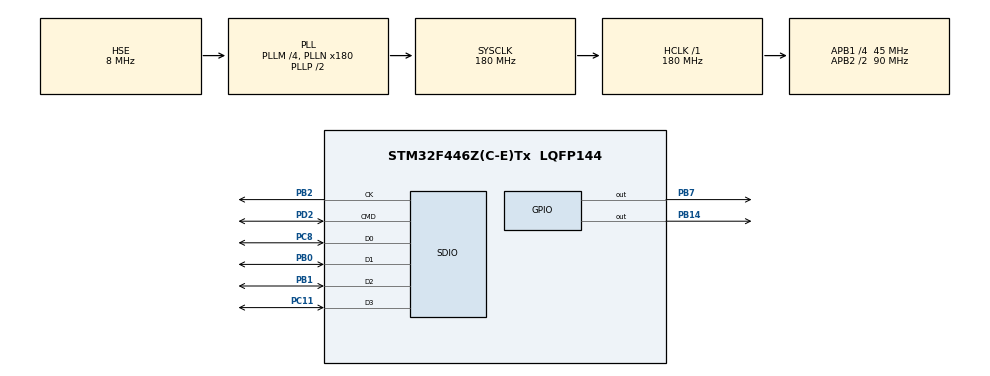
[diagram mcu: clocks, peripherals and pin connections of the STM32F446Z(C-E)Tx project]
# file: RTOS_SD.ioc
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Dma.Request0=SDIO_RX
Dma.Request1=SDIO_TX
Dma.SDIO_RX.0.Direction=DMA_PERIPH_TO_MEMORY
Dma.SDIO_RX.0.FIFOMode=DMA_FIFOMODE_ENABLE
Dma.SDIO_RX.0.FIFOThreshold=DMA_FIFO_THRESHOLD_FULL
Dma.SDIO_RX.0.Instance=DMA2_Stream3
Dma.SDIO_RX.0.MemBurst=DMA_MBURST_INC4
Dma.SDIO_RX.0.MemDataAlignment=DMA_MDATAALIGN_WORD
Dma.SDIO_RX.0.MemInc=DMA_MINC_ENABLE
Dma.SDIO_RX.0.Mode=DMA_PFCTRL
Dma.SDIO_RX.0.PeriphBurst=DMA_PBURST_INC4
Dma.SDIO_RX.0.PeriphDataAlignment=DMA_PDATAALIGN_WORD
Dma.SDIO_RX.0.PeriphInc=DMA_PINC_DISABLE
Dma.SDIO_RX.0.Priority=DMA_PRIORITY_LOW
Dma.SDIO_TX.1.Direction=DMA_MEMORY_TO_PERIPH
Dma.SDIO_TX.1.FIFOMode=DMA_FIFOMODE_ENABLE
Dma.SDIO_TX.1.FIFOThreshold=DMA_FIFO_THRESHOLD_FULL
Dma.SDIO_TX.1.Instance=DMA2_Stream6
Dma.SDIO_TX.1.MemBurst=DMA_MBURST_INC4
Dma.SDIO_TX.1.MemDataAlignment=DMA_MDATAALIGN_WORD
Dma.SDIO_TX.1.MemInc=DMA_MINC_ENABLE
Dma.SDIO_TX.1.Mode=DMA_PFCTRL
Dma.SDIO_TX.1.PeriphBurst=DMA_PBURST_INC4
Dma.SDIO_TX.1.PeriphDataAlignment=DMA_PDATAALIGN_WORD
Dma.SDIO_TX.1.PeriphInc=DMA_PINC_DISABLE
Dma.SDIO_TX.1.Priority=DMA_PRIORITY_LOW
FATFS._MAX_SS=4096
FATFS._USE_FIND=1
FATFS._USE_LABEL=1
FATFS._USE_LFN=3
FREERTOS.Tasks01=defaultTask,0,128,StartDefaultTask,Default,NULL
Mcu.Family=STM32F4
Mcu.Name=STM32F446Z(C-E)Tx
Mcu.Package=LQFP144
NVIC.DMA2_Stream3_IRQn=true\:5\:0\:false\:false\:true\:true\:false
NVIC.DMA2_Stream6_IRQn=true\:5\:0\:false\:false\:true\:true\:false
NVIC.PriorityGroup=NVIC_PRIORITYGROUP_4
NVIC.SDIO_IRQn=true\:5\:0\:false\:false\:true\:true\:true
PB0.GPIO_PuPd=GPIO_PULLUP
PB0.Mode=SD_4_bits_Wide_bus
PB0.Signal=SDIO_D1
PB1.GPIO_PuPd=GPIO_PULLUP
PB1.Mode=SD_4_bits_Wide_bus
PB1.Signal=SDIO_D2
PB14.Signal=GPIO_Output
PB2.GPIO_PuPd=GPIO_NOPULL
PB2.Mode=SD_4_bits_Wide_bus
PB2.Signal=SDIO_CK
PB7.Signal=GPIO_Output
PC11.GPIO_PuPd=GPIO_PULLUP
PC11.Mode=SD_4_bits_Wide_bus
PC11.Signal=SDIO_D3
PC8.GPIO_PuPd=GPIO_PULLUP
PC8.Mode=SD_4_bits_Wide_bus
PC8.Signal=SDIO_D0
PD2.GPIO_PuPd=GPIO_PULLUP
PD2.Mode=SD_4_bits_Wide_bus
PD2.Signal=SDIO_CMD
PH0-OSC_IN.Mode=HSE-External-Oscillator
PH0-OSC_IN.Signal=RCC_OSC_IN
PH1-OSC_OUT.Mode=HSE-External-Oscillator
PH1-OSC_OUT.Signal=RCC_OSC_OUT
ProjectManager.HeapSize=0x2000
ProjectManager.StackSize=0x4000
ProjectManager.TargetToolchain=MDK-ARM V5
RCC.AHBFreq_Value=180000000
RCC.APB1CLKDivider=RCC_HCLK_DIV4
RCC.APB1Freq_Value=45000000
RCC.APB1TimFreq_Value=90000000
RCC.APB2CLKDivider=RCC_HCLK_DIV2
RCC.APB2Freq_Value=90000000
RCC.APB2TimFreq_Value=180000000
RCC.CortexFreq_Value=180000000
RCC.HCLKFreq_Value=180000000
RCC.HSE_VALUE=8000000
RCC.PLLM=4
RCC.PLLN=180
RCC.PLLQ=8
RCC.PLLSourceVirtual=RCC_PLLSOURCE_HSE
RCC.SYSCLKFreq_VALUE=180000000
RCC.SYSCLKSource=RCC_SYSCLKSOURCE_PLLCLK
RCC.USBFreq_Value=45000000
RCC.VCOOutputFreq_Value=360000000
SDIO.ClockDiv=2
VP_FATFS_VS_SDIO.Mode=SDIO
VP_FREERTOS_VS_ENABLE.Mode=Enabled
board=custom

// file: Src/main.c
/**
  ******************************************************************************
  * @file           : main.c
  * @brief          : Main program body
  ******************************************************************************
  * This notice applies to any and all portions of this file
  * that are not between comment pairs USER CODE BEGIN and
  * USER CODE END. Other portions of this file, whether
  * inserted by the user or by software development tools
  * are owned by their respective copyright owners.
  *
  * Copyright (c) 2018 STMicroelectronics International N.V.
  * All rights reserved.
  *
  * Redistribution and use in source and binary forms, with or without
  * modification, are permitted, provided that the following conditions are met:
  *
  * 1. Redistribution of source code must retain the above copyright notice,
  *    this list of conditions and the following disclaimer.
  * 2. Redistributions in binary form must reproduce the above copyright notice,
  *    this list of conditions and the following disclaimer in the documentation
  *    and/or other materials provided with the distribution.
  * 3. Neither the name of STMicroelectronics nor the names of other
  *    contributors to this software may be used to endorse or promote products
  *    derived from this software without specific written permission.
  * 4. This software, including modifications and/or derivative works of this
  *    software, must execute solely and exclusively on microcontroller or
  *    microprocessor devices manufactured by or for STMicroelectronics.
  * 5. Redistribution and use of this software other than as permitted under
  *    this license is void and will automatically terminate your rights under
  *    this license.
  *
  * THIS SOFTWARE IS PROVIDED BY STMICROELECTRONICS AND CONTRIBUTORS "AS IS"
  * AND ANY EXPRESS, IMPLIED OR STATUTORY WARRANTIES, INCLUDING, BUT NOT
  * LIMITED TO, THE IMPLIED WARRANTIES OF MERCHANTABILITY, FITNESS FOR A
  * PARTICULAR PURPOSE AND NON-INFRINGEMENT OF THIRD PARTY INTELLECTUAL PROPERTY
  * RIGHTS ARE DISCLAIMED TO THE FULLEST EXTENT PERMITTED BY LAW. IN NO EVENT
  * SHALL STMICROELECTRONICS OR CONTRIBUTORS BE LIABLE FOR ANY DIRECT, INDIRECT,
  * INCIDENTAL, SPECIAL, EXEMPLARY, OR CONSEQUENTIAL DAMAGES (INCLUDING, BUT NOT
  * LIMITED TO, PROCUREMENT OF SUBSTITUTE GOODS OR SERVICES; LOSS OF USE, DATA,
  * OR PROFITS; OR BUSINESS INTERRUPTION) HOWEVER CAUSED AND ON ANY THEORY OF
  * LIABILITY, WHETHER IN CONTRACT, STRICT LIABILITY, OR TORT (INCLUDING
  * NEGLIGENCE OR OTHERWISE) ARISING IN ANY WAY OUT OF THE USE OF THIS SOFTWARE,
  * EVEN IF ADVISED OF THE POSSIBILITY OF SUCH DAMAGE.
  *
  ******************************************************************************
  */
#include "main.h"
#include "stm32f4xx_hal.h"
#include "cmsis_os.h"
#include "fatfs.h"

SD_HandleTypeDef hsd;
DMA_HandleTypeDef hdma_sdio_rx;
DMA_HandleTypeDef hdma_sdio_tx;

osThreadId defaultTaskHandle;

/* USER CODE BEGIN PV */
/* Private variables ---------------------------------------------------------*/
#define size 4096
/* USER CODE END PV */

void SystemClock_Config(void);
static void MX_GPIO_Init(void);
static void MX_DMA_Init(void);
static void MX_SDIO_SD_Init(void);
void StartDefaultTask(void const * argument);

/* USER CODE BEGIN PFP */
/* Private function prototypes -----------------------------------------------*/
void startCounterTask(void const * arg);
void customDelay(void);
/* USER CODE END PFP */

/* USER CODE BEGIN 0 */
uint8_t flag =0;
uint8_t flag2 =0;
int x=0;
FRESULT res;
UINT byteswritten;
FIL MyFile;     /* File object */
FATFS myFatFs;  /* File system object for SD card logical drive */
char a[size];
osThreadId counterTaskHandle;
/* USER CODE END 0 */

int main(void)
{

  /* MCU Configuration----------------------------------------------------------*/

  /* Reset of all peripherals, Initializes the Flash interface and the Systick. */
  HAL_Init();

  /* Configure the system clock */
  SystemClock_Config();

  /* Initialize all configured peripherals */
  MX_GPIO_Init();
  MX_DMA_Init();
  MX_SDIO_SD_Init();

  /* Create the thread(s) */
  /* definition and creation of defaultTask */
  osThreadDef(defaultTask, StartDefaultTask, osPriorityNormal, 0, 128);
  defaultTaskHandle = osThreadCreate(osThread(defaultTask), NULL);

  /* USER CODE BEGIN RTOS_THREADS */
  /* add threads, ... */
	osThreadDef(counterTask,startCounterTask,osPriorityNormal,1,128);
	counterTaskHandle = osThreadCreate(osThread(counterTask),NULL);
  /* USER CODE END RTOS_THREADS */

  /* Start scheduler */
  osKernelStart();

  /* We should never get here as control is now taken by the scheduler */

  /* Infinite loop */
  while (1)
  {

  }

}

void SystemClock_Config(void)
{

  RCC_OscInitTypeDef RCC_OscInitStruct;
  RCC_ClkInitTypeDef RCC_ClkInitStruct;
  RCC_PeriphCLKInitTypeDef PeriphClkInitStruct;

    /**Configure the main internal regulator output voltage
    */
  __HAL_RCC_PWR_CLK_ENABLE();

  __HAL_PWR_VOLTAGESCALING_CONFIG(PWR_REGULATOR_VOLTAGE_SCALE1);

    /**Initializes the CPU, AHB and APB busses clocks
    */
  RCC_OscInitStruct.OscillatorType = RCC_OSCILLATORTYPE_HSE;
  RCC_OscInitStruct.HSEState = RCC_HSE_ON;
  RCC_OscInitStruct.PLL.PLLState = RCC_PLL_ON;
  RCC_OscInitStruct.PLL.PLLSource = RCC_PLLSOURCE_HSE;
  RCC_OscInitStruct.PLL.PLLM = 4;
  RCC_OscInitStruct.PLL.PLLN = 180;
  RCC_OscInitStruct.PLL.PLLP = RCC_PLLP_DIV2;
  RCC_OscInitStruct.PLL.PLLQ = 8;
  RCC_OscInitStruct.PLL.PLLR = 2;
  if (HAL_RCC_OscConfig(&RCC_OscInitStruct) != HAL_OK)
  {
    _Error_Handler(__FILE__, __LINE__);
  }

    /**Activate the Over-Drive mode
    */
  if (HAL_PWREx_EnableOverDrive() != HAL_OK)
  {
    _Error_Handler(__FILE__, __LINE__);
  }

    /**Initializes the CPU, AHB and APB busses clocks
    */
  RCC_ClkInitStruct.ClockType = RCC_CLOCKTYPE_HCLK|RCC_CLOCKTYPE_SYSCLK
                              |RCC_CLOCKTYPE_PCLK1|RCC_CLOCKTYPE_PCLK2;
  RCC_ClkInitStruct.SYSCLKSource = RCC_SYSCLKSOURCE_PLLCLK;
  RCC_ClkInitStruct.AHBCLKDivider = RCC_SYSCLK_DIV1;
  RCC_ClkInitStruct.APB1CLKDivider = RCC_HCLK_DIV4;
  RCC_ClkInitStruct.APB2CLKDivider = RCC_HCLK_DIV2;

  if (HAL_RCC_ClockConfig(&RCC_ClkInitStruct, FLASH_LATENCY_5) != HAL_OK)
  {
    _Error_Handler(__FILE__, __LINE__);
  }

  PeriphClkInitStruct.PeriphClockSelection = RCC_PERIPHCLK_SDIO|RCC_PERIPHCLK_CLK48;
  PeriphClkInitStruct.Clk48ClockSelection = RCC_CLK48CLKSOURCE_PLLQ;
  PeriphClkInitStruct.SdioClockSelection = RCC_SDIOCLKSOURCE_CLK48;
  if (HAL_RCCEx_PeriphCLKConfig(&PeriphClkInitStruct) != HAL_OK)
  {
    _Error_Handler(__FILE__, __LINE__);
  }

    /**Configure the Systick interrupt time
    */
  HAL_SYSTICK_Config(HAL_RCC_GetHCLKFreq()/1000);

    /**Configure the Systick
    */
  HAL_SYSTICK_CLKSourceConfig(SYSTICK_CLKSOURCE_HCLK);

  /* SysTick_IRQn interrupt configuration */
  HAL_NVIC_SetPriority(SysTick_IRQn, 15, 0);
}

/* SDIO init function */
static void MX_SDIO_SD_Init(void)
{

  hsd.Instance = SDIO;
  hsd.Init.ClockEdge = SDIO_CLOCK_EDGE_RISING;
  hsd.Init.ClockBypass = SDIO_CLOCK_BYPASS_DISABLE;
  hsd.Init.ClockPowerSave = SDIO_CLOCK_POWER_SAVE_DISABLE;
  hsd.Init.BusWide = SDIO_BUS_WIDE_1B;
  hsd.Init.HardwareFlowControl = SDIO_HARDWARE_FLOW_CONTROL_DISABLE;
  hsd.Init.ClockDiv = 2;

}

static void MX_DMA_Init(void)
{
  /* DMA controller clock enable */
  __HAL_RCC_DMA2_CLK_ENABLE();

  /* DMA interrupt init */
  /* DMA2_Stream3_IRQn interrupt configuration */
  HAL_NVIC_SetPriority(DMA2_Stream3_IRQn, 5, 0);
  HAL_NVIC_EnableIRQ(DMA2_Stream3_IRQn);
  /* DMA2_Stream6_IRQn interrupt configuration */
  HAL_NVIC_SetPriority(DMA2_Stream6_IRQn, 5, 0);
  HAL_NVIC_EnableIRQ(DMA2_Stream6_IRQn);

}

/** Configure pins as
        * Analog
        * Input
        * Output
        * EVENT_OUT
        * EXTI
*/
static void MX_GPIO_Init(void)
{

  GPIO_InitTypeDef GPIO_InitStruct;

  /* GPIO Ports Clock Enable */
  __HAL_RCC_GPIOH_CLK_ENABLE();
  __HAL_RCC_GPIOB_CLK_ENABLE();
  __HAL_RCC_GPIOC_CLK_ENABLE();
  __HAL_RCC_GPIOD_CLK_ENABLE();

  /*Configure GPIO pin Output Level */
  HAL_GPIO_WritePin(GPIOB, GPIO_PIN_14|GPIO_PIN_7, GPIO_PIN_RESET);

  /*Configure GPIO pins : PB14 PB7 */
  GPIO_InitStruct.Pin = GPIO_PIN_14|GPIO_PIN_7;
  GPIO_InitStruct.Mode = GPIO_MODE_OUTPUT_PP;
  GPIO_InitStruct.Pull = GPIO_NOPULL;
  GPIO_InitStruct.Speed = GPIO_SPEED_FREQ_LOW;
  HAL_GPIO_Init(GPIOB, &GPIO_InitStruct);

}

/* USER CODE BEGIN 4 */
void customDelay(void){
	for(int x = 0 ; x < 180 ; x++){
		;
	}
}

void startCounterTask(void const * arg){
	int asdf=1;

	while(1){
		while(!flag2){

		}
		osDelay(1000);
		flag++;
	}
}
/* USER CODE END 4 */

void StartDefaultTask(void const * argument)
{
  /* init code for FATFS */
  MX_FATFS_Init();

  /* USER CODE BEGIN 5 */
	while(x<10){HAL_GPIO_TogglePin(GPIOB,GPIO_PIN_14);osDelay(100);x++;}
	//------------------------------------------start file writing--------------------------------------
	HAL_GPIO_WritePin(GPIOB,GPIO_PIN_14,GPIO_PIN_RESET);
	HAL_GPIO_WritePin(GPIOB,GPIO_PIN_7,GPIO_PIN_RESET);

	res = f_mount(&myFatFs,SDPath,1);
		HAL_GPIO_WritePin(GPIOB,GPIO_PIN_7,GPIO_PIN_SET);
		osDelay(100);
	HAL_GPIO_WritePin(GPIOB,GPIO_PIN_7,GPIO_PIN_RESET);
		if( res==FR_OK){
		//if(f_mount(&SDFatFS,(TCHAR const*)SDPath,1) ==FR_OK){
			HAL_GPIO_WritePin(GPIOB,GPIO_PIN_7,GPIO_PIN_SET);
			osDelay(500);
			HAL_GPIO_WritePin(GPIOB,GPIO_PIN_7,GPIO_PIN_RESET);
			if(f_mkdir("FOLDER1")==FR_OK){
				HAL_GPIO_WritePin(GPIOB,GPIO_PIN_7,GPIO_PIN_SET);
					//f_close(&MyFile);
			}
			else{
								//	HAL_GPIO_WritePin(GPIOB,GPIO_PIN_14,GPIO_PIN_SET);

			}
			f_open(&MyFile,"FILE22.bin",FA_CREATE_ALWAYS | FA_WRITE);
			x=0;

			int count=0;
			while(count<size){

				a[count] = 'a';
				count++;
			}
			flag = 0;
			flag2++;

			while(!flag){

			f_write(&MyFile,a,sizeof(a),&byteswritten);
				x++;
			}

					HAL_GPIO_WritePin(GPIOB,GPIO_PIN_7,GPIO_PIN_SET);
					f_close(&MyFile);

		}
		else{
			HAL_GPIO_WritePin(GPIOB,GPIO_PIN_14,GPIO_PIN_SET);
		}

	//----------------------------end of file writing----------------------------------------------------------
  /* Infinite loop */
		HAL_GPIO_WritePin(GPIOB,GPIO_PIN_14,GPIO_PIN_RESET);
	HAL_GPIO_WritePin(GPIOB,GPIO_PIN_7,GPIO_PIN_RESET);
  for(;;)
  {
		//osDelay(2000);
		HAL_GPIO_TogglePin(GPIOB,GPIO_PIN_14);
		HAL_GPIO_TogglePin(GPIOB,GPIO_PIN_7);

  }
  /* USER CODE END 5 */
}

void _Error_Handler(char *file, int line)
{
  while(1)
  {
  }
}

/************************ (C) COPYRIGHT STMicroelectronics *****END OF FILE****/
